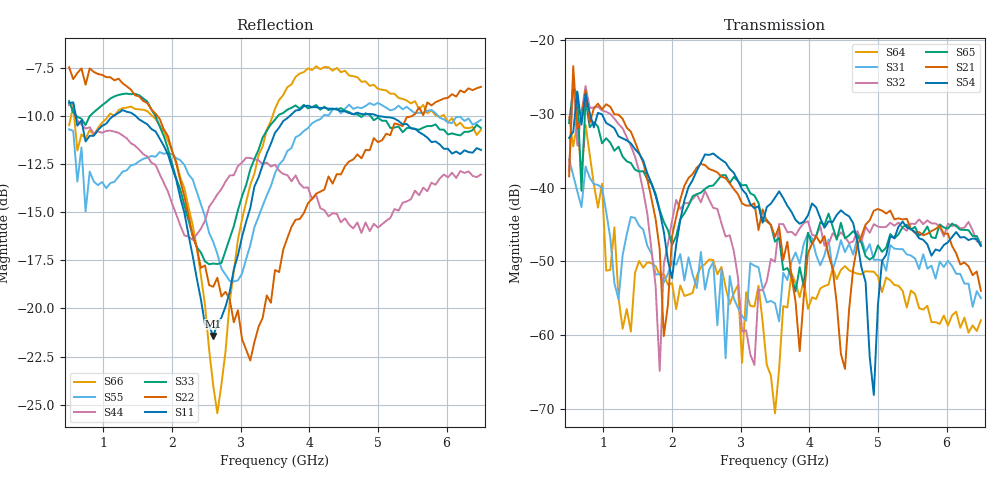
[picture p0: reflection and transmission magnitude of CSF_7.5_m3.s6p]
!Keysight Technologies,M9804A,MY58100912,A.14.10.03
!Date: Thursday, April 27, 2023 10:28:33
!Correction: S11(C  6-Port  )
!S12(C  6-Port  )
!S13(C  6-Port  )
!S14(C  6-Port  )
!S15(C  6-Port  )
!S16(C  6-Port  )
!S21(C  6-Port  )
!S22(C  6-Port  )
!S23(C  6-Port  )
!S24(C  6-Port  )
!S25(C  6-Port  )
!S26(C  6-Port  )
!S31(C  6-Port  )
!S32(C  6-Port  )
!S33(C  6-Port  )
!S34(C  6-Port  )
!S35(C  6-Port  )
!S36(C  6-Port  )
!S41(C  6-Port  )
!S42(C  6-Port  )
!S43(C  6-Port  )
!S44(C  6-Port  )
!S45(C  6-Port  )
!S46(C  6-Port  )
!S51(C  6-Port  )
!S52(C  6-Port  )
!S53(C  6-Port  )
!S54(C  6-Port  )
!S55(C  6-Port  )
!S56(C  6-Port  )
!S61(C  6-Port  )
!S62(C  6-Port  )
!S63(C  6-Port  )
!S64(C  6-Port  )
!S65(C  6-Port  )
!S66(C  6-Port  )
!S6P File: Measurement: :
# Hz S  RI  R 50
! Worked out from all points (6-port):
!   101 points, 500 MHz to 6.5 GHz, reference 50 ohm
!   strongest paths, dB at 500 MHz, 2 GHz, 3.5 GHz, 5 GHz, 6.5 GHz:
!     S54: -33.3, -52.3, -41.4, -55.9, -47.9
!     S21: -38.5, -46.6, -46.7, -42.9, -54.0
!     S65: -31.3, -47.7, -47.3, -47.8, -47.8
!     S32: -37.8, -44.5, -50.0, -45.3, -47.4
!     S31: -36.2, -50.0, -55.7, -49.8, -55.0
!     S64: -30.5, -52.9, -70.6, -52.1, -58.0
!   lowest |S11| = -21.4 dB at 2.6 GHz (marker M1), VSWR 1.19, Z = 42.5 + j2.31 ohm
!   |S11| at or under -10 dB: 594.3 MHz to 1.152 GHz (557.2 MHz wide, 63.8 % of centre); 1.465 GHz to 3.719 GHz (2.254 GHz wide, 87 % of centre); 4.989 GHz to end of sweep
